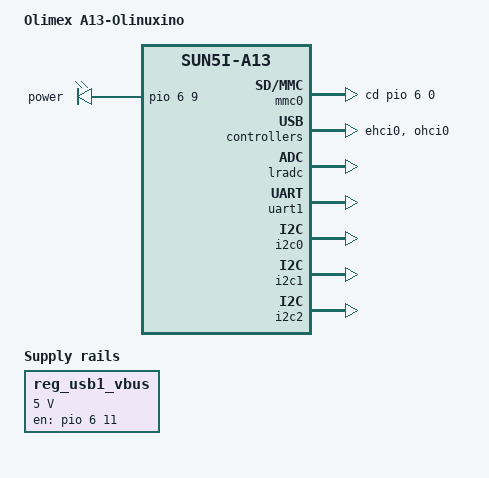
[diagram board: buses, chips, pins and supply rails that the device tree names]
/*
 * Copyright 2012 Maxime Ripard
 *
 * Maxime Ripard <maxime.ripard@free-electrons.com>
 *
 * The code contained herein is licensed under the GNU General Public
 * License. You may obtain a copy of the GNU General Public License
 * Version 2 or later at the following locations:
 *
 * http://www.opensource.org/licenses/gpl-license.html
 * http://www.gnu.org/copyleft/gpl.html
 */

/dts-v1/;
/include/ "sun5i-a13.dtsi"
#include <dt-bindings/input/input.h>

/ {
	model = "Olimex A13-Olinuxino";
	compatible = "olimex,a13-olinuxino", "allwinner,sun5i-a13";

	chosen {
		bootargs = "earlyprintk console=ttyS0,115200";
	};

	soc@01c00000 {
		mmc0: mmc@01c0f000 {
			pinctrl-names = "default";
			pinctrl-0 = <&mmc0_pins_a>;
			pinctrl-1 = <&mmc0_cd_pin_olinuxino>;
			cd-gpios = <&pio 6 0 0>; /* PG0 */
			cd-mode = <1>;
			status = "okay";
		};

		usbphy: phy@0x01c13400 {
			usb1_vbus-supply = <&reg_usb1_vbus>;
			status = "okay";
		};

		ehci0: ehci@0x01c14000 {
			status = "okay";
		};

		ohci0: ohci@0x01c14400 {
			status = "okay";
		};

		pinctrl@01c20800 {
			mmc0_cd_pin_olinuxino: mmc0_cd_pin@0 {
				allwinner,pins = "PG0";
				allwinner,function = "gpio_in";
				allwinner,drive = <0>;
				allwinner,pull = <0>;
			};

			led_pins_olinuxino: led_pins@0 {
				allwinner,pins = "PG9";
				allwinner,function = "gpio_out";
				allwinner,drive = <1>;
				allwinner,pull = <0>;
			};

			usb1_vbus_pin_olinuxino: usb1_vbus_pin@0 {
				allwinner,pins = "PG11";
				allwinner,function = "gpio_out";
				allwinner,drive = <0>;
				allwinner,pull = <0>;
			};
		};

		lradc: lradc@01c22800 {
			allwinner,chan0-step = <200>;
			linux,chan0-keycodes = <KEY_VOLUMEUP KEY_VOLUMEDOWN
						KEY_MENU KEY_ENTER KEY_HOME>;
			status = "okay";
		};

		uart1: serial@01c28400 {
			pinctrl-names = "default";
			pinctrl-0 = <&uart1_pins_b>;
			status = "okay";
		};

		i2c0: i2c@01c2ac00 {
			pinctrl-names = "default";
			pinctrl-0 = <&i2c0_pins_a>;
			status = "okay";
		};

		i2c1: i2c@01c2b000 {
			pinctrl-names = "default";
			pinctrl-0 = <&i2c1_pins_a>;
			status = "okay";
		};

		i2c2: i2c@01c2b400 {
			pinctrl-names = "default";
			pinctrl-0 = <&i2c2_pins_a>;
			status = "okay";
		};
	};

	leds {
		compatible = "gpio-leds";
		pinctrl-names = "default";
		pinctrl-0 = <&led_pins_olinuxino>;

		power {
			gpios = <&pio 6 9 0>;
			default-state = "on";
		};
	};

	regulators {
		compatible = "simple-bus";

		reg_usb1_vbus: usb1-vbus {
			compatible = "regulator-fixed";
			pinctrl-names = "default";
			pinctrl-0 = <&usb1_vbus_pin_olinuxino>;
			regulator-name = "usb1-vbus";
			regulator-min-microvolt = <5000000>;
			regulator-max-microvolt = <5000000>;
			enable-active-high;
			gpio = <&pio 6 11 0>;
		};
	};
};
